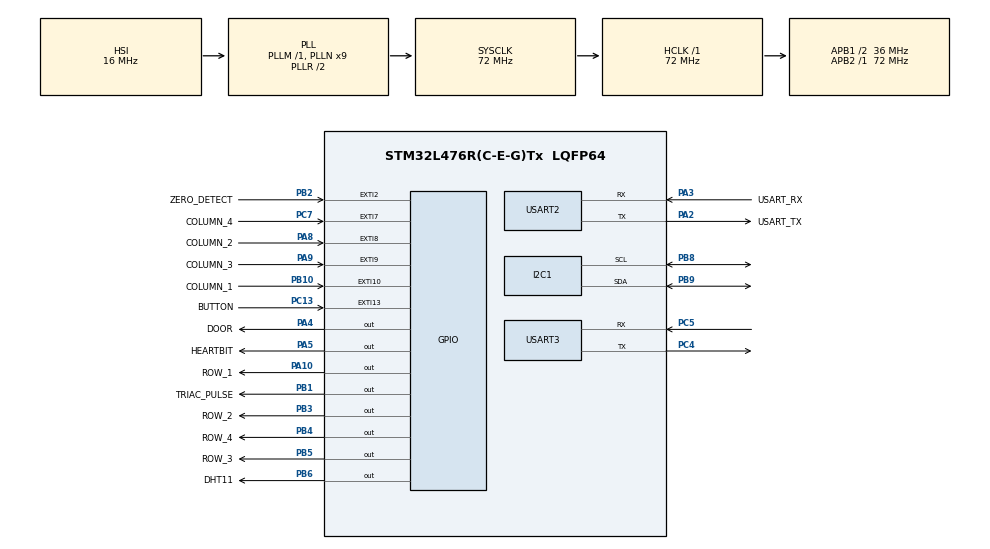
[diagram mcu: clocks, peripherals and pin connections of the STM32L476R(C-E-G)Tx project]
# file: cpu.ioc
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I2C1.Timing=0x00C08CCB
Mcu.Family=STM32L4
Mcu.Name=STM32L476R(C-E-G)Tx
Mcu.Package=LQFP64
NVIC.EXTI15_10_IRQn=true\:0\:0\:false\:false\:true\:true\:true\:true
NVIC.EXTI2_IRQn=true\:0\:0\:false\:false\:true\:true\:true\:true
NVIC.EXTI9_5_IRQn=true\:0\:0\:false\:false\:true\:true\:true\:true
NVIC.I2C1_EV_IRQn=true\:0\:0\:false\:false\:true\:true\:true\:true
NVIC.PriorityGroup=NVIC_PRIORITYGROUP_4
NVIC.RCC_IRQn=true\:0\:0\:false\:false\:true\:true\:false\:true
NVIC.TIM2_IRQn=true\:0\:0\:false\:false\:true\:true\:true\:true
NVIC.USART2_IRQn=true\:0\:0\:false\:false\:true\:true\:true\:true
NVIC.USART3_IRQn=true\:0\:0\:false\:false\:true\:true\:true\:true
PA10.GPIO_Label=ROW_1
PA10.GPIO_ModeDefaultOutputPP=GPIO_MODE_OUTPUT_OD
PA10.GPIO_PuPd=GPIO_NOPULL
PA10.GPIO_Speed=GPIO_SPEED_FREQ_VERY_HIGH
PA10.PinState=GPIO_PIN_RESET
PA10.Signal=GPIO_Output
PA13\ (JTMS-SWDIO).GPIO_Label=TMS
PA13\ (JTMS-SWDIO).Mode=Serial_Wire
PA13\ (JTMS-SWDIO).Signal=SYS_JTMS-SWDIO
PA14\ (JTCK-SWCLK).GPIO_Label=TCK
PA14\ (JTCK-SWCLK).Mode=Serial_Wire
PA14\ (JTCK-SWCLK).Signal=SYS_JTCK-SWCLK
PA2.GPIO_Label=USART_TX
PA2.GPIO_Mode=GPIO_MODE_AF_PP
PA2.GPIO_PuPd=GPIO_NOPULL
PA2.GPIO_Speed=GPIO_SPEED_FREQ_VERY_HIGH
PA2.Mode=Asynchronous
PA2.Signal=USART2_TX
PA3.GPIO_Label=USART_RX
PA3.GPIO_Mode=GPIO_MODE_AF_PP
PA3.GPIO_PuPd=GPIO_NOPULL
PA3.GPIO_Speed=GPIO_SPEED_FREQ_VERY_HIGH
PA3.Mode=Asynchronous
PA3.Signal=USART2_RX
PA4.GPIO_Label=DOOR
PA4.Signal=GPIO_Output
PA5.GPIO_Label=HEARTBIT
PA5.GPIO_ModeDefaultOutputPP=GPIO_MODE_OUTPUT_PP
PA5.GPIO_PuPd=GPIO_NOPULL
PA5.GPIO_Speed=GPIO_SPEED_FREQ_LOW
PA5.Signal=GPIO_Output
PA8.GPIO_Label=COLUMN_2
PA8.GPIO_ModeDefaultEXTI=GPIO_MODE_IT_FALLING
PA8.GPIO_PuPd=GPIO_PULLUP
PA8.Signal=GPXTI8
PA9.GPIO_Label=COLUMN_3
PA9.GPIO_ModeDefaultEXTI=GPIO_MODE_IT_FALLING
PA9.GPIO_PuPd=GPIO_PULLUP
PA9.Signal=GPXTI9
PB1.GPIO_Label=TRIAC_PULSE
PB1.GPIO_Speed=GPIO_SPEED_FREQ_MEDIUM
PB1.Signal=GPIO_Output
PB10.GPIO_Label=COLUMN_1
PB10.GPIO_ModeDefaultEXTI=GPIO_MODE_IT_FALLING
PB10.GPIO_PuPd=GPIO_PULLUP
PB10.Signal=GPXTI10
PB2.GPIO_Label=ZERO_DETECT
PB2.GPIO_PuPd=GPIO_PULLUP
PB2.Signal=GPXTI2
PB3\ (JTDO-TRACESWO).GPIO_Label=ROW_2
PB3\ (JTDO-TRACESWO).GPIO_ModeDefaultOutputPP=GPIO_MODE_OUTPUT_OD
PB3\ (JTDO-TRACESWO).GPIO_PuPd=GPIO_NOPULL
PB3\ (JTDO-TRACESWO).GPIO_Speed=GPIO_SPEED_FREQ_VERY_HIGH
PB3\ (JTDO-TRACESWO).PinState=GPIO_PIN_RESET
PB3\ (JTDO-TRACESWO).Signal=GPIO_Output
PB4\ (NJTRST).GPIO_Label=ROW_4
PB4\ (NJTRST).GPIO_ModeDefaultOutputPP=GPIO_MODE_OUTPUT_OD
PB4\ (NJTRST).GPIO_PuPd=GPIO_NOPULL
PB4\ (NJTRST).GPIO_Speed=GPIO_SPEED_FREQ_VERY_HIGH
PB4\ (NJTRST).PinState=GPIO_PIN_RESET
PB4\ (NJTRST).Signal=GPIO_Output
PB5.GPIO_Label=ROW_3
PB5.GPIO_ModeDefaultOutputPP=GPIO_MODE_OUTPUT_OD
PB5.GPIO_PuPd=GPIO_NOPULL
PB5.GPIO_Speed=GPIO_SPEED_FREQ_VERY_HIGH
PB5.PinState=GPIO_PIN_RESET
PB5.Signal=GPIO_Output
PB6.GPIO_Label=DHT11
PB6.Signal=GPIO_Output
PB8.Mode=I2C
PB8.Signal=I2C1_SCL
PB9.Mode=I2C
PB9.Signal=I2C1_SDA
PC13.GPIO_Label=BUTTON
PC13.GPIO_ModeDefaultEXTI=GPIO_MODE_IT_FALLING
PC13.GPIO_PuPd=GPIO_NOPULL
PC13.Signal=GPXTI13
PC14-OSC32_IN\ (PC14).Mode=LSE-External-Oscillator
PC14-OSC32_IN\ (PC14).Signal=RCC_OSC32_IN
PC15-OSC32_OUT\ (PC15).Mode=LSE-External-Oscillator
PC15-OSC32_OUT\ (PC15).Signal=RCC_OSC32_OUT
PC4.Mode=Asynchronous
PC4.Signal=USART3_TX
PC5.Mode=Asynchronous
PC5.Signal=USART3_RX
PC7.GPIO_Label=COLUMN_4
PC7.GPIO_ModeDefaultEXTI=GPIO_MODE_IT_FALLING
PC7.GPIO_PuPd=GPIO_PULLUP
PC7.Signal=GPXTI7
PH0-OSC_IN\ (PH0).Mode=HSE-External-Oscillator
PH0-OSC_IN\ (PH0).Signal=RCC_OSC_IN
PH1-OSC_OUT\ (PH1).Mode=HSE-External-Oscillator
PH1-OSC_OUT\ (PH1).Signal=RCC_OSC_OUT
ProjectManager.HeapSize=0x200
ProjectManager.StackSize=0x400
ProjectManager.TargetToolchain=CMake
RCC.ADCFreq_Value=64000000
RCC.AHBFreq_Value=72000000
RCC.APB1CLKDivider=RCC_HCLK_DIV2
RCC.APB1Freq_Value=36000000
RCC.APB1TimFreq_Value=72000000
RCC.APB2Freq_Value=72000000
RCC.APB2TimFreq_Value=72000000
RCC.CortexFreq_Value=72000000
RCC.HCLKFreq_Value=72000000
RCC.HSE_VALUE=8000000
RCC.HSI_VALUE=16000000
RCC.MSI_VALUE=4000000
RCC.PLLN=9
RCC.PLLSourceVirtual=RCC_PLLSOURCE_HSI
RCC.PREFETCH_ENABLE=1
RCC.SYSCLKFreq_VALUE=72000000
RCC.SYSCLKSource=RCC_SYSCLKSOURCE_PLLCLK
RCC.USBFreq_Value=64000000
RCC.VCOOutputFreq_Value=144000000
TIM1.Prescaler=71
TIM2.Period=99
TIM2.Prescaler=71
USART2.VirtualMode-Asynchronous=VM_ASYNC
USART3.VirtualMode-Asynchronous=VM_ASYNC
VP_TIM1_VS_ClockSourceINT.Mode=Internal
VP_TIM2_VS_ClockSourceINT.Mode=Internal
board=NUCLEO-L476RG

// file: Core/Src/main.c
/* USER CODE BEGIN Header */
/**
  ******************************************************************************
  * @file           : main.c
  * @brief          : Main program body
  ******************************************************************************
  * @attention
  *
  * Copyright (c) 2025 STMicroelectronics.
  * All rights reserved.
  *
  * This software is licensed under terms that can be found in the LICENSE file
  * in the root directory of this software component.
  * If no LICENSE file comes with this software, it is provided AS-IS.
  *
  ******************************************************************************
  */
/* USER CODE END Header */
#include "main.h"

/* USER CODE BEGIN Includes */
#include "ring_buffer.h"
#include "ssd1306.h"
#include "ssd1306_fonts.h"
#include "keypad.h"
#include "DHT11.h"
#include "dimmer.h"

/* USER CODE END Includes */

I2C_HandleTypeDef hi2c1;

TIM_HandleTypeDef htim1;
TIM_HandleTypeDef htim2;

UART_HandleTypeDef huart2;
UART_HandleTypeDef huart3;

/* USER CODE BEGIN PV */
volatile uint8_t press_count = 0;         // Contador de pulsaciones
volatile uint32_t first_press_time = 0;     // Tiempo de la primera pulsación

uint32_t door_tick = 0;
uint32_t door_status = 0;
uint8_t door_prev_status = 0;               // Guarda el estado previo para la lógica del botón

uint8_t pc_rx_data[BUFFER_CAPACITY];
ring_buffer_t pc_rx_buffer;

uint8_t keypad_rx_data[BUFFER_CAPACITY];
ring_buffer_t keypad_rx_buffer;

/* USER CODE END PV */

void SystemClock_Config(void);
static void MX_GPIO_Init(void);
static void MX_TIM1_Init(void);
static void MX_TIM2_Init(void);
static void MX_USART2_UART_Init(void);
static void MX_USART3_UART_Init(void);
static void MX_I2C1_Init(void);
/* USER CODE BEGIN PFP */
void OLED_Write(char *text);
/* USER CODE END PFP */

/* USER CODE BEGIN 0 */

/*-----------------------------------INTERRUPTIONS---------------------------------*/
void HAL_TIM_PeriodElapsedCallback(TIM_HandleTypeDef *htim)
{
  if(htim->Instance == TIM2)
  {
    Dimmer_TIM_PeriodElapsedCallback(htim);
  }

}

/* Callback de la interrupción externa (EXTI) para el cruce por cero */
uint32_t key_pressed_tick = 0;
uint16_t column_pressed = 0;
uint32_t debounce_tick = 0;
void HAL_GPIO_EXTI_Callback(uint16_t GPIO_Pin)
{
  if(GPIO_Pin == ZERO_DETECT_Pin)
  {
    Dimmer_GPIO_EXTI_Callback();
  }
  uint32_t current_time = HAL_GetTick();

  if (GPIO_Pin == BUTTON_Pin)
  {
      // Debounce para B1: 100 ms
      static uint32_t b1_debounce_tick = 0;
      if ((current_time - b1_debounce_tick) < 100)
          return;
      b1_debounce_tick = current_time;

      // Procesamiento del botón B1
      if (press_count == 0)
      {
          first_press_time = current_time;
      }
      press_count++;
  }

  if(GPIO_Pin == COLUMN_1_Pin || GPIO_Pin == COLUMN_2_Pin || GPIO_Pin == COLUMN_3_Pin || GPIO_Pin == COLUMN_4_Pin) {

    // Debounce para el keypad: 200 ms
    static uint32_t keypad_debounce_tick = 0;
    if ((current_time - keypad_debounce_tick) < 200)
        return;
    keypad_debounce_tick = current_time;

    key_pressed_tick = current_time;
    column_pressed = GPIO_Pin;
  }
}

uint8_t rx_data;
uint8_t wifi_data;
void HAL_UART_RxCpltCallback(UART_HandleTypeDef *huart) {
  if (huart->Instance == USART2) {
    ring_buffer_write(&pc_rx_buffer, rx_data);
    show_rb(&pc_rx_buffer, &huart2);
    HAL_UART_Receive_IT(&huart2, &rx_data, 1);
  }
  else if (huart->Instance == USART3) {
    Dimmer_UART_RxCpltCallback(huart, wifi_data);

    HAL_UART_Transmit(&huart3, (uint8_t *)&wifi_data, 1, 1000);
    HAL_UART_Receive_IT(&huart3, (uint8_t *)&wifi_data, 1);
    //HAL_UART_Receive_IT(&huart2, (uint8_t *)&wifi_data, 1);
  }
}

/*------------------------------------MACROS------------------------------------*/

uint32_t heartbit_tick = 0;
void heartbit(void) {
  if (HAL_GetTick() - heartbit_tick >= 500) {
      HAL_GPIO_TogglePin(HEARTBIT_GPIO_Port, HEARTBIT_Pin);
      ssd1306_UpdateScreen();

      heartbit_tick = HAL_GetTick();
  }
}
void OLED_Write(char *text) {
  ssd1306_Fill(Black);
  ssd1306_SetCursor(17, 17);
  ssd1306_WriteString(text, Font_11x18, White);
}

/*-------------------------------------------------------FUNCTIONS----------------------------------*/

/**
 * @brief Máquina de estados para el control de la puerta.
 * Se guarda en door_prev_status el estado previo.
 * 0 = cerrado, 1 = abierto, 2 = abierto temp, 3 = inactivo
 */
void state_machine(void) {
  switch (door_status) {
    case 0: // Cerrado
      door_prev_status = 0;
      HAL_GPIO_WritePin(DOOR_GPIO_Port, DOOR_Pin, GPIO_PIN_RESET);
      HAL_UART_Transmit(&huart2, (uint8_t *)"Closed", 7, 1000);
      HAL_UART_Transmit(&huart2, (uint8_t *)"\r\n", 2, 1000);
      OLED_Write("Closed");
      door_status = 3;
      break;
    case 1: // Abierto
      door_prev_status = 1;
      HAL_GPIO_WritePin(DOOR_GPIO_Port, DOOR_Pin, GPIO_PIN_SET);
      HAL_UART_Transmit(&huart2, (uint8_t *)"Open", 4, 1000);
      HAL_UART_Transmit(&huart2, (uint8_t *)"\r\n", 2, 1000);
      OLED_Write("Open");
      door_status = 3;
      break;
    case 2: // Abierto temporal
      door_prev_status = 2;
      HAL_GPIO_WritePin(DOOR_GPIO_Port, DOOR_Pin, GPIO_PIN_SET);
      if (door_tick == 0) {
        door_tick = HAL_GetTick();
        HAL_UART_Transmit(&huart2, (uint8_t *)"Open", 4, 1000);
        HAL_UART_Transmit(&huart2, (uint8_t *)"\r\n", 2, 1000);
        OLED_Write("Open");
      }
      // Después de 5 segundos se cierra la puerta
      if (HAL_GetTick() - door_tick >= 5000) {
        HAL_GPIO_WritePin(DOOR_GPIO_Port, DOOR_Pin, GPIO_PIN_RESET);
        HAL_UART_Transmit(&huart2, (uint8_t *)"Closed", 7, 1000);
        HAL_UART_Transmit(&huart2, (uint8_t *)"\r\n", 2, 1000);
        OLED_Write("Closed");
        door_status = 3;
        door_tick = 0;
      }
      break;
    case 3: // Inactivo
      // No se realiza ninguna acción.
      break;
    default:
      break;
  }
  wifi_data = 14;
}

void handle_door_status(void) {
  if(check_string_in_rb(PASSWORD, &pc_rx_buffer) ||
    check_string_in_rb(PASSWORD, &keypad_rx_buffer) ||
    wifi_data == 12) {
    door_status = 2;
  }
  if(check_string_in_rb(OPEN_COMMAND, &pc_rx_buffer) ||
    check_string_in_rb(OPEN_COMMAND, &keypad_rx_buffer) ||
    wifi_data == 11) {
    door_status = 1;
  }
  if(check_string_in_rb(CLOSE_COMMAND, &pc_rx_buffer) ||
    check_string_in_rb(CLOSE_COMMAND, &keypad_rx_buffer) ||
    wifi_data == 10) {
    door_status = 0;
  }

  // Manejo de pulsaciones del botón usando EXTI y GetTick (sin delay)
  if (press_count > 0)
  {
    if (HAL_GetTick() - first_press_time > 500)
    {
      if (press_count == 2)
      {
        door_status = 1;  // Doble pulsación: se abre la puerta (estado 1)
      }
      else if (press_count == 1)
      {
        // Pulsación única: si la puerta estaba previamente abierta (door_prev_status == 1) se cierra,
        // en caso contrario entra en modo "abierto temp" (estado 2)
        door_status = (door_prev_status == 1) ? 0 : 2;
      }
      press_count = 0; // Reinicia el contador para la siguiente serie
    }
  }

}
/* USER CODE END 0 */

int main(void)
{

  /* MCU Configuration--------------------------------------------------------*/

  /* Reset of all peripherals, Initializes the Flash interface and the Systick. */
  HAL_Init();

  /* USER CODE BEGIN Init */
  keypad_init();
  /* USER CODE END Init */

  /* Configure the system clock */
  SystemClock_Config();

  /* Initialize all configured peripherals */
  MX_GPIO_Init();
  MX_TIM1_Init();
  MX_TIM2_Init();
  MX_USART2_UART_Init();
  MX_USART3_UART_Init();
  MX_I2C1_Init();
  /* USER CODE BEGIN 2 */
  HAL_TIM_Base_Start_IT(&htim1);
  HAL_TIM_Base_Start_IT(&htim2);

  HAL_UART_Receive_IT(&huart2, (uint8_t *)&rx_data, 1);
  HAL_UART_Receive_IT(&huart3, (uint8_t *)&wifi_data, 1);

  char *msg_uart2 = "---Hello USART2---\r\n";
  HAL_UART_Transmit(&huart2, (uint8_t *)msg_uart2, strlen(msg_uart2), 1000);
  char *msg_uart3 = "---Hello USART3---\r\n";
  HAL_UART_Transmit(&huart3, (uint8_t *)msg_uart3, strlen(msg_uart3), 1000);

  ring_buffer_init(&pc_rx_buffer, pc_rx_data, sizeof(pc_rx_data));
  ring_buffer_init(&keypad_rx_buffer, keypad_rx_data, sizeof(keypad_rx_data));

  ssd1306_Init();
  OLED_Write(FW_VERSION);

  HAL_UART_Transmit(&huart2, (uint8_t *)FW_VERSION, strlen(FW_VERSION), 1000);
  HAL_UART_Transmit(&huart3, (uint8_t *)FW_VERSION, strlen(FW_VERSION), 1000);
  HAL_UART_Transmit(&huart2, (uint8_t *)"\n\r", 4, 1000);
  /* USER CODE END 2 */

  /* Infinite loop */
  /* USER CODE BEGIN WHILE */

  static uint32_t dht_tick = 0;
  while (1)
  {
    heartbit();

    if (HAL_GetTick() >= 10000)
    {
        if (HAL_GetTick() - dht_tick >= 5000)
        {
            dht_tick = HAL_GetTick();
            DHT11_send_data(&huart3);
        }
    }
    if (column_pressed != 0 && (key_pressed_tick + 5) < HAL_GetTick() ) {
      uint8_t key = keypad_scan(column_pressed);

      ring_buffer_write(&keypad_rx_buffer, key);
      //HAL_UART_Transmit(&huart2, (uint8_t *)&key, 1, 1000);
      show_rb(&keypad_rx_buffer, &huart2);
      HAL_UART_Receive_IT(&huart2, &rx_data, 1);

      column_pressed = 0;
    }

    handle_door_status();

    state_machine();

    /* USER CODE END WHILE */

  }
}
void SystemClock_Config(void)
{
  RCC_OscInitTypeDef RCC_OscInitStruct = {0};
  RCC_ClkInitTypeDef RCC_ClkInitStruct = {0};

  /** Configure the main internal regulator output voltage
  */
  if (HAL_PWREx_ControlVoltageScaling(PWR_REGULATOR_VOLTAGE_SCALE1) != HAL_OK)
  {
    Error_Handler();
  }

  /** Initializes the RCC Oscillators according to the specified parameters
  * in the RCC_OscInitTypeDef structure.
  */
  RCC_OscInitStruct.OscillatorType = RCC_OSCILLATORTYPE_HSI;
  RCC_OscInitStruct.HSIState = RCC_HSI_ON;
  RCC_OscInitStruct.HSICalibrationValue = RCC_HSICALIBRATION_DEFAULT;
  RCC_OscInitStruct.PLL.PLLState = RCC_PLL_ON;
  RCC_OscInitStruct.PLL.PLLSource = RCC_PLLSOURCE_HSI;
  RCC_OscInitStruct.PLL.PLLM = 1;
  RCC_OscInitStruct.PLL.PLLN = 9;
  RCC_OscInitStruct.PLL.PLLP = RCC_PLLP_DIV7;
  RCC_OscInitStruct.PLL.PLLQ = RCC_PLLQ_DIV2;
  RCC_OscInitStruct.PLL.PLLR = RCC_PLLR_DIV2;
  if (HAL_RCC_OscConfig(&RCC_OscInitStruct) != HAL_OK)
  {
    Error_Handler();
  }

  /** Initializes the CPU, AHB and APB buses clocks
  */
  RCC_ClkInitStruct.ClockType = RCC_CLOCKTYPE_HCLK|RCC_CLOCKTYPE_SYSCLK
                              |RCC_CLOCKTYPE_PCLK1|RCC_CLOCKTYPE_PCLK2;
  RCC_ClkInitStruct.SYSCLKSource = RCC_SYSCLKSOURCE_PLLCLK;
  RCC_ClkInitStruct.AHBCLKDivider = RCC_SYSCLK_DIV1;
  RCC_ClkInitStruct.APB1CLKDivider = RCC_HCLK_DIV2;
  RCC_ClkInitStruct.APB2CLKDivider = RCC_HCLK_DIV1;

  if (HAL_RCC_ClockConfig(&RCC_ClkInitStruct, FLASH_LATENCY_4) != HAL_OK)
  {
    Error_Handler();
  }
}

static void MX_I2C1_Init(void)
{

  hi2c1.Instance = I2C1;
  hi2c1.Init.Timing = 0x00C08CCB;
  hi2c1.Init.OwnAddress1 = 0;
  hi2c1.Init.AddressingMode = I2C_ADDRESSINGMODE_7BIT;
  hi2c1.Init.DualAddressMode = I2C_DUALADDRESS_DISABLE;
  hi2c1.Init.OwnAddress2 = 0;
  hi2c1.Init.OwnAddress2Masks = I2C_OA2_NOMASK;
  hi2c1.Init.GeneralCallMode = I2C_GENERALCALL_DISABLE;
  hi2c1.Init.NoStretchMode = I2C_NOSTRETCH_DISABLE;
  if (HAL_I2C_Init(&hi2c1) != HAL_OK)
  {
    Error_Handler();
  }

  /** Configure Analogue filter
  */
  if (HAL_I2CEx_ConfigAnalogFilter(&hi2c1, I2C_ANALOGFILTER_ENABLE) != HAL_OK)
  {
    Error_Handler();
  }

  /** Configure Digital filter
  */
  if (HAL_I2CEx_ConfigDigitalFilter(&hi2c1, 0) != HAL_OK)
  {
    Error_Handler();
  }

}

static void MX_TIM1_Init(void)
{

  TIM_ClockConfigTypeDef sClockSourceConfig = {0};
  TIM_MasterConfigTypeDef sMasterConfig = {0};

  htim1.Instance = TIM1;
  htim1.Init.Prescaler = 71;
  htim1.Init.CounterMode = TIM_COUNTERMODE_UP;
  htim1.Init.Period = 65535;
  htim1.Init.ClockDivision = TIM_CLOCKDIVISION_DIV1;
  htim1.Init.RepetitionCounter = 0;
  htim1.Init.AutoReloadPreload = TIM_AUTORELOAD_PRELOAD_DISABLE;
  if (HAL_TIM_Base_Init(&htim1) != HAL_OK)
  {
    Error_Handler();
  }
  sClockSourceConfig.ClockSource = TIM_CLOCKSOURCE_INTERNAL;
  if (HAL_TIM_ConfigClockSource(&htim1, &sClockSourceConfig) != HAL_OK)
  {
    Error_Handler();
  }
  sMasterConfig.MasterOutputTrigger = TIM_TRGO_RESET;
  sMasterConfig.MasterOutputTrigger2 = TIM_TRGO2_RESET;
  sMasterConfig.MasterSlaveMode = TIM_MASTERSLAVEMODE_DISABLE;
  if (HAL_TIMEx_MasterConfigSynchronization(&htim1, &sMasterConfig) != HAL_OK)
  {
    Error_Handler();
  }

}

static void MX_TIM2_Init(void)
{

  TIM_ClockConfigTypeDef sClockSourceConfig = {0};
  TIM_MasterConfigTypeDef sMasterConfig = {0};

  htim2.Instance = TIM2;
  htim2.Init.Prescaler = 71;
  htim2.Init.CounterMode = TIM_COUNTERMODE_UP;
  htim2.Init.Period = 99;
  htim2.Init.ClockDivision = TIM_CLOCKDIVISION_DIV1;
  htim2.Init.AutoReloadPreload = TIM_AUTORELOAD_PRELOAD_DISABLE;
  if (HAL_TIM_Base_Init(&htim2) != HAL_OK)
  {
    Error_Handler();
  }
  sClockSourceConfig.ClockSource = TIM_CLOCKSOURCE_INTERNAL;
  if (HAL_TIM_ConfigClockSource(&htim2, &sClockSourceConfig) != HAL_OK)
  {
    Error_Handler();
  }
  sMasterConfig.MasterOutputTrigger = TIM_TRGO_RESET;
  sMasterConfig.MasterSlaveMode = TIM_MASTERSLAVEMODE_DISABLE;
  if (HAL_TIMEx_MasterConfigSynchronization(&htim2, &sMasterConfig) != HAL_OK)
  {
    Error_Handler();
  }

}

static void MX_USART2_UART_Init(void)
{

  huart2.Instance = USART2;
  huart2.Init.BaudRate = 115200;
  huart2.Init.WordLength = UART_WORDLENGTH_8B;
  huart2.Init.StopBits = UART_STOPBITS_1;
  huart2.Init.Parity = UART_PARITY_NONE;
  huart2.Init.Mode = UART_MODE_TX_RX;
  huart2.Init.HwFlowCtl = UART_HWCONTROL_NONE;
  huart2.Init.OverSampling = UART_OVERSAMPLING_16;
  huart2.Init.OneBitSampling = UART_ONE_BIT_SAMPLE_DISABLE;
  huart2.AdvancedInit.AdvFeatureInit = UART_ADVFEATURE_NO_INIT;
  if (HAL_UART_Init(&huart2) != HAL_OK)
  {
    Error_Handler();
  }

}

static void MX_USART3_UART_Init(void)
{

  huart3.Instance = USART3;
  huart3.Init.BaudRate = 115200;
  huart3.Init.WordLength = UART_WORDLENGTH_8B;
  huart3.Init.StopBits = UART_STOPBITS_1;
  huart3.Init.Parity = UART_PARITY_NONE;
  huart3.Init.Mode = UART_MODE_TX_RX;
  huart3.Init.HwFlowCtl = UART_HWCONTROL_NONE;
  huart3.Init.OverSampling = UART_OVERSAMPLING_16;
  huart3.Init.OneBitSampling = UART_ONE_BIT_SAMPLE_DISABLE;
  huart3.AdvancedInit.AdvFeatureInit = UART_ADVFEATURE_NO_INIT;
  if (HAL_UART_Init(&huart3) != HAL_OK)
  {
    Error_Handler();
  }

}

static void MX_GPIO_Init(void)
{
  GPIO_InitTypeDef GPIO_InitStruct = {0};

  /* GPIO Ports Clock Enable */
  __HAL_RCC_GPIOC_CLK_ENABLE();
  __HAL_RCC_GPIOH_CLK_ENABLE();
  __HAL_RCC_GPIOA_CLK_ENABLE();
  __HAL_RCC_GPIOB_CLK_ENABLE();

  /*Configure GPIO pin Output Level */
  HAL_GPIO_WritePin(GPIOA, DOOR_Pin|HEARTBIT_Pin|ROW_1_Pin, GPIO_PIN_RESET);

  /*Configure GPIO pin Output Level */
  HAL_GPIO_WritePin(GPIOB, TRIAC_PULSE_Pin|ROW_2_Pin|ROW_4_Pin|ROW_3_Pin
                          |DHT11_Pin, GPIO_PIN_RESET);

  /*Configure GPIO pin : BUTTON_Pin */
  GPIO_InitStruct.Pin = BUTTON_Pin;
  GPIO_InitStruct.Mode = GPIO_MODE_IT_FALLING;
  GPIO_InitStruct.Pull = GPIO_NOPULL;
  HAL_GPIO_Init(BUTTON_GPIO_Port, &GPIO_InitStruct);

  /*Configure GPIO pins : DOOR_Pin HEARTBIT_Pin */
  GPIO_InitStruct.Pin = DOOR_Pin|HEARTBIT_Pin;
  GPIO_InitStruct.Mode = GPIO_MODE_OUTPUT_PP;
  GPIO_InitStruct.Pull = GPIO_NOPULL;
  GPIO_InitStruct.Speed = GPIO_SPEED_FREQ_LOW;
  HAL_GPIO_Init(GPIOA, &GPIO_InitStruct);

  /*Configure GPIO pin : TRIAC_PULSE_Pin */
  GPIO_InitStruct.Pin = TRIAC_PULSE_Pin;
  GPIO_InitStruct.Mode = GPIO_MODE_OUTPUT_PP;
  GPIO_InitStruct.Pull = GPIO_NOPULL;
  GPIO_InitStruct.Speed = GPIO_SPEED_FREQ_MEDIUM;
  HAL_GPIO_Init(TRIAC_PULSE_GPIO_Port, &GPIO_InitStruct);

  /*Configure GPIO pin : ZERO_DETECT_Pin */
  GPIO_InitStruct.Pin = ZERO_DETECT_Pin;
  GPIO_InitStruct.Mode = GPIO_MODE_IT_RISING;
  GPIO_InitStruct.Pull = GPIO_PULLUP;
  HAL_GPIO_Init(ZERO_DETECT_GPIO_Port, &GPIO_InitStruct);

  /*Configure GPIO pin : COLUMN_1_Pin */
  GPIO_InitStruct.Pin = COLUMN_1_Pin;
  GPIO_InitStruct.Mode = GPIO_MODE_IT_FALLING;
  GPIO_InitStruct.Pull = GPIO_PULLUP;
  HAL_GPIO_Init(COLUMN_1_GPIO_Port, &GPIO_InitStruct);

  /*Configure GPIO pin : COLUMN_4_Pin */
  GPIO_InitStruct.Pin = COLUMN_4_Pin;
  GPIO_InitStruct.Mode = GPIO_MODE_IT_FALLING;
  GPIO_InitStruct.Pull = GPIO_PULLUP;
  HAL_GPIO_Init(COLUMN_4_GPIO_Port, &GPIO_InitStruct);

  /*Configure GPIO pins : COLUMN_2_Pin COLUMN_3_Pin */
  GPIO_InitStruct.Pin = COLUMN_2_Pin|COLUMN_3_Pin;
  GPIO_InitStruct.Mode = GPIO_MODE_IT_FALLING;
  GPIO_InitStruct.Pull = GPIO_PULLUP;
  HAL_GPIO_Init(GPIOA, &GPIO_InitStruct);

  /*Configure GPIO pin : ROW_1_Pin */
  GPIO_InitStruct.Pin = ROW_1_Pin;
  GPIO_InitStruct.Mode = GPIO_MODE_OUTPUT_OD;
  GPIO_InitStruct.Pull = GPIO_NOPULL;
  GPIO_InitStruct.Speed = GPIO_SPEED_FREQ_VERY_HIGH;
  HAL_GPIO_Init(ROW_1_GPIO_Port, &GPIO_InitStruct);

  /*Configure GPIO pins : ROW_2_Pin ROW_4_Pin ROW_3_Pin */
  GPIO_InitStruct.Pin = ROW_2_Pin|ROW_4_Pin|ROW_3_Pin;
  GPIO_InitStruct.Mode = GPIO_MODE_OUTPUT_OD;
  GPIO_InitStruct.Pull = GPIO_NOPULL;
  GPIO_InitStruct.Speed = GPIO_SPEED_FREQ_VERY_HIGH;
  HAL_GPIO_Init(GPIOB, &GPIO_InitStruct);

  /*Configure GPIO pin : DHT11_Pin */
  GPIO_InitStruct.Pin = DHT11_Pin;
  GPIO_InitStruct.Mode = GPIO_MODE_OUTPUT_PP;
  GPIO_InitStruct.Pull = GPIO_NOPULL;
  GPIO_InitStruct.Speed = GPIO_SPEED_FREQ_LOW;
  HAL_GPIO_Init(DHT11_GPIO_Port, &GPIO_InitStruct);

  /* EXTI interrupt init*/
  HAL_NVIC_SetPriority(EXTI2_IRQn, 0, 0);
  HAL_NVIC_EnableIRQ(EXTI2_IRQn);

  HAL_NVIC_SetPriority(EXTI9_5_IRQn, 0, 0);
  HAL_NVIC_EnableIRQ(EXTI9_5_IRQn);

  HAL_NVIC_SetPriority(EXTI15_10_IRQn, 0, 0);
  HAL_NVIC_EnableIRQ(EXTI15_10_IRQn);

}

void Error_Handler(void)
{
  __disable_irq();
  while (1)
  {
  }
}
